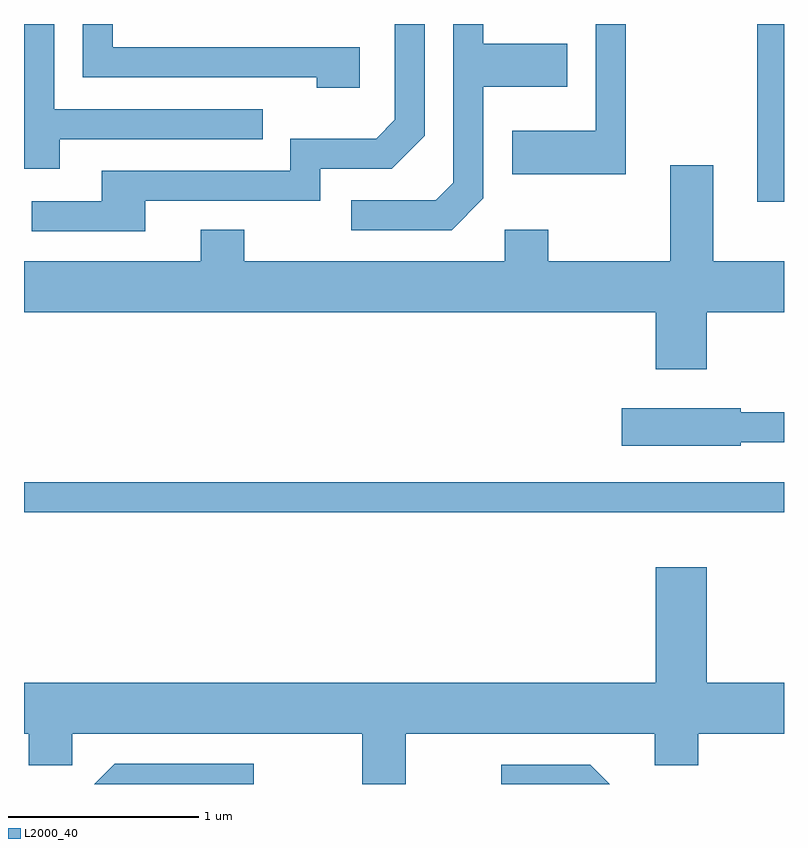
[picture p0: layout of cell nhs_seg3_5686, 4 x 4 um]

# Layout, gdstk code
import gdstk
lib = gdstk.Library(unit=1e-6, precision=1e-09)
def R(c, l, rs):  # rectangles x0, y0, x1, y1
    for r in rs: c.add(gdstk.rectangle(r[:2], r[2:], *l))
def P(c, l, *ps):  # polygons
    for p in ps: c.add(gdstk.Polygon(p, *l))
L2000_40 = (2000, 40)

nhs_seg3_5686 = lib.new_cell('nhs_seg3_5686')
R(nhs_seg3_5686, L2000_40, [(351.611,1209.321,355.611,1209.479), (355.471,1210.956,355.611,1211.892)])
P(nhs_seg3_5686, L2000_40, [(352.249,1210.961),(353.169,1210.961),(353.169,1211.131),(353.547,1211.131),(353.719,1211.304),(353.719,1211.892),(353.561,1211.892),(353.561,1211.387),(353.464,1211.289),(353.011,1211.289),(353.011,1211.119),(352.021,1211.119),(352.021,1210.959),(351.653,1210.959),(351.653,1210.801),(352.249,1210.801)],
  [(354.029,1210.974),(354.029,1211.561),(354.469,1211.561),(354.469,1211.789),(354.029,1211.789),(354.029,1211.892),(353.871,1211.892),(353.871,1211.057),(353.779,1210.964),(353.333,1210.964),(353.333,1210.806),(353.862,1210.806)],
  [(354.779,1211.892),(354.621,1211.892),(354.621,1211.329),(354.181,1211.329),(354.181,1211.101),(354.779,1211.101)],
  [(353.379,1211.769),(352.079,1211.769),(352.079,1211.892),(351.921,1211.892),(351.921,1211.611),(353.151,1211.611),(353.151,1211.556),(353.379,1211.556)],
  [(351.799,1211.286),(352.868,1211.286),(352.868,1211.444),(351.769,1211.444),(351.769,1211.892),(351.611,1211.892),(351.611,1211.131),(351.799,1211.131)],
  [(355.204,1210.376),(355.611,1210.376),(355.611,1210.644),(355.239,1210.644),(355.239,1211.149),(355.011,1211.149),(355.011,1210.644),(354.369,1210.644),(354.369,1210.809),(354.141,1210.809),(354.141,1210.644),(352.769,1210.644),(352.769,1210.809),(352.541,1210.809),(352.541,1210.644),(351.611,1210.644),(351.611,1210.376),(354.936,1210.376),(354.936,1210.076),(355.204,1210.076)],
  [(355.384,1209.691),(355.611,1209.691),(355.611,1209.849),(355.384,1209.849),(355.384,1209.869),(354.756,1209.869),(354.756,1209.671),(355.384,1209.671)],
  [(353.619,1208.156),(354.931,1208.156),(354.931,1207.991),(355.159,1207.991),(355.159,1208.156),(355.611,1208.156),(355.611,1208.424),(355.204,1208.424),(355.204,1209.034),(354.936,1209.034),(354.936,1208.424),(351.611,1208.424),(351.611,1208.156),(351.636,1208.156),(351.636,1207.991),(351.864,1207.991),(351.864,1208.156),(353.391,1208.156),(353.391,1207.892),(353.619,1207.892)],
  [(352.819,1207.999),(352.089,1207.999),(351.982,1207.892),(352.819,1207.892)],
  [(354.592,1207.994),(354.123,1207.994),(354.123,1207.892),(354.694,1207.892)])

lib.write_gds('nhs_seg3_5686.gds')
